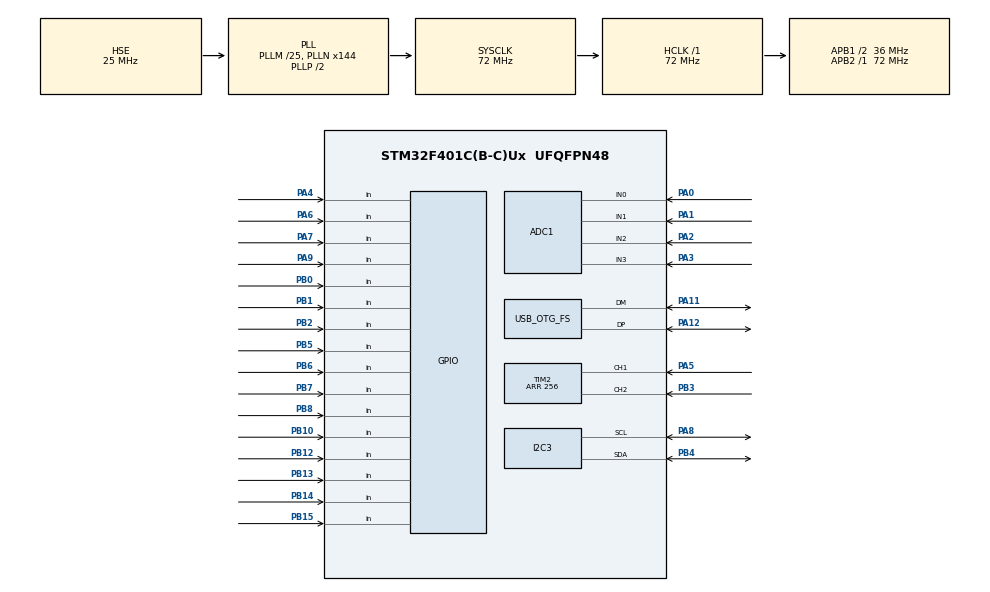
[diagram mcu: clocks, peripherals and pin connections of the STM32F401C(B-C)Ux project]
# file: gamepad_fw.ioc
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ADC1.Channel-0\#ChannelRegularConversion=ADC_CHANNEL_0
ADC1.Channel-1\#ChannelRegularConversion=ADC_CHANNEL_1
ADC1.Channel-2\#ChannelRegularConversion=ADC_CHANNEL_2
ADC1.Channel-3\#ChannelRegularConversion=ADC_CHANNEL_3
ADC1.ContinuousConvMode=ENABLE
ADC1.NbrOfConversion=4
ADC1.NbrOfConversionFlag=1
ADC1.Rank-0\#ChannelRegularConversion=1
ADC1.Rank-1\#ChannelRegularConversion=2
ADC1.Rank-2\#ChannelRegularConversion=3
ADC1.Rank-3\#ChannelRegularConversion=4
ADC1.SamplingTime-0\#ChannelRegularConversion=ADC_SAMPLETIME_3CYCLES
ADC1.SamplingTime-1\#ChannelRegularConversion=ADC_SAMPLETIME_3CYCLES
ADC1.SamplingTime-2\#ChannelRegularConversion=ADC_SAMPLETIME_3CYCLES
ADC1.SamplingTime-3\#ChannelRegularConversion=ADC_SAMPLETIME_3CYCLES
ADC1.ScanConvMode=ENABLE
ADC1.master=1
I2C3.I2C_Mode=I2C_Fast
Mcu.Family=STM32F4
Mcu.Name=STM32F401C(B-C)Ux
Mcu.Package=UFQFPN48
NVIC.OTG_FS_IRQn=true\:0\:0\:false\:false\:true\:false\:true\:true
NVIC.PriorityGroup=NVIC_PRIORITYGROUP_4
PA0-WKUP.Signal=ADCx_IN0
PA1.Signal=ADCx_IN1
PA11.Mode=Device_Only
PA11.Signal=USB_OTG_FS_DM
PA12.Mode=Device_Only
PA12.Signal=USB_OTG_FS_DP
PA2.Signal=ADCx_IN2
PA3.Signal=ADCx_IN3
PA4.GPIO_PuPd=GPIO_PULLUP
PA4.Signal=GPIO_Input
PA5.Signal=S_TIM2_CH1_ETR
PA6.GPIO_PuPd=GPIO_PULLUP
PA6.Signal=GPIO_Input
PA7.GPIO_PuPd=GPIO_PULLUP
PA7.Signal=GPIO_Input
PA8.Mode=I2C
PA8.Signal=I2C3_SCL
PA9.GPIO_PuPd=GPIO_PULLUP
PA9.Signal=GPIO_Input
PB0.GPIO_PuPd=GPIO_PULLUP
PB0.Signal=GPIO_Input
PB1.GPIO_PuPd=GPIO_PULLUP
PB1.Signal=GPIO_Input
PB10.GPIO_PuPd=GPIO_PULLUP
PB10.Signal=GPIO_Input
PB12.GPIO_PuPd=GPIO_PULLUP
PB12.Signal=GPIO_Input
PB13.GPIO_PuPd=GPIO_PULLUP
PB13.Signal=GPIO_Input
PB14.GPIO_PuPd=GPIO_PULLUP
PB14.Signal=GPIO_Input
PB15.GPIO_PuPd=GPIO_PULLUP
PB15.Signal=GPIO_Input
PB2.GPIO_PuPd=GPIO_PULLUP
PB2.Signal=GPIO_Input
PB3.Signal=S_TIM2_CH2
PB4.Mode=I2C
PB4.Signal=I2C3_SDA
PB5.GPIO_PuPd=GPIO_PULLUP
PB5.Signal=GPIO_Input
PB6.GPIO_PuPd=GPIO_PULLUP
PB6.Signal=GPIO_Input
PB7.GPIO_PuPd=GPIO_PULLUP
PB7.Signal=GPIO_Input
PB8.GPIO_PuPd=GPIO_PULLUP
PB8.Signal=GPIO_Input
PH0\ -\ OSC_IN.Mode=HSE-External-Oscillator
PH0\ -\ OSC_IN.Signal=RCC_OSC_IN
PH1\ -\ OSC_OUT.Mode=HSE-External-Oscillator
PH1\ -\ OSC_OUT.Signal=RCC_OSC_OUT
ProjectManager.HeapSize=0x200
ProjectManager.StackSize=0x400
ProjectManager.TargetToolchain=STM32CubeIDE
RCC.48MHZClocksFreq_Value=48000000
RCC.AHBFreq_Value=72000000
RCC.APB1CLKDivider=RCC_HCLK_DIV2
RCC.APB1Freq_Value=36000000
RCC.APB1TimFreq_Value=72000000
RCC.APB2Freq_Value=72000000
RCC.APB2TimFreq_Value=72000000
RCC.CortexFreq_Value=72000000
RCC.HCLKFreq_Value=72000000
RCC.HSE_VALUE=25000000
RCC.HSI_VALUE=16000000
RCC.LSE_VALUE=32768
RCC.PLLM=25
RCC.PLLN=144
RCC.PLLQ=3
RCC.SYSCLKFreq_VALUE=72000000
RCC.SYSCLKSource=RCC_SYSCLKSOURCE_PLLCLK
RCC.VCOOutputFreq_Value=144000000
SH.ADCx_IN0.0=ADC1_IN0,IN0
SH.ADCx_IN1.0=ADC1_IN1,IN1
SH.ADCx_IN2.0=ADC1_IN2,IN2
SH.ADCx_IN3.0=ADC1_IN3,IN3
SH.S_TIM2_CH1_ETR.0=TIM2_CH1,Encoder_Interface
SH.S_TIM2_CH2.0=TIM2_CH2,Encoder_Interface
TIM2.EncoderMode=TIM_ENCODERMODE_TI12
TIM2.Period=256
USB_DEVICE.CLASS_NAME_FS=CUSTOM_HID
USB_DEVICE.PRODUCT_STRING_CUSTOMHID_FS=STM32 GAMEPAD
USB_DEVICE.VirtualMode=CustomHid
USB_DEVICE.VirtualModeFS=Custom_Hid_FS
USB_OTG_FS.VirtualMode=Device_Only
VP_USB_DEVICE_VS_USB_DEVICE_CUSTOM_HID_FS.Mode=CUSTOM_HID_FS
board=custom

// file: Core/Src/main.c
/* USER CODE BEGIN Header */
/**
  ******************************************************************************
  * @file           : main.c
  * @brief          : Main program body
  ******************************************************************************
  * @attention
  *
  * Copyright (c) 2023 STMicroelectronics.
  * All rights reserved.
  *
  * This software is licensed under terms that can be found in the LICENSE file
  * in the root directory of this software component.
  * If no LICENSE file comes with this software, it is provided AS-IS.
  *
  ******************************************************************************
  */
/* USER CODE END Header */
#include "main.h"
#include "usb_device.h"
#include <stdio.h>
#include <stdlib.h>

/* USER CODE BEGIN Includes */
#include "ssd1306.h"
#include "ssd1306_conf.h"
#include "ssd1306_fonts.h"
#include "ssd1306_tests.h"
/* USER CODE END Includes */

/* USER CODE BEGIN PTD */
typedef struct
__attribute__((__packed__))
{
  uint8_t reportId;                                 // Report ID = 0x01 (1)
  uint8_t modifier;
  uint8_t reverse;
  uint8_t keycode[6];                              // Value = 0 to 255
} keyboardReport_t;

typedef struct
__attribute__((__packed__))
{
  uint8_t reportId;                                 // Report ID = 0x02 (2)
  uint8_t leftClick:1;
  uint8_t rightClick:1;
  uint8_t midClick:1;
  uint8_t pad:5;
  int8_t pointerX;                         // Usage 0x00010030: X, Value = -127 to 127
  int8_t pointerY;                         // Usage 0x00010031: Y, Value = -127 to 127
  int8_t wheel;      	                   // Usage 0x00010038: Wheel, Value = -127 to 127
} mouseReport_t;

typedef struct
__attribute__((__packed__))
{
	uint8_t reportId; //                 //Report ID 0x03 (3)
	uint16_t buttons;
	int8_t leftX;
	int8_t leftY;
	int8_t rightX;
	int8_t rightY;
}gamepadReport_t;

GPIO_TypeDef* port[16] = {GPIOB, GPIOA, GPIOA, GPIOB, GPIOB, GPIOB, GPIOB, GPIOB, GPIOA, GPIOB, GPIOA, GPIOB, GPIOB, GPIOB, GPIOB, GPIOB};
uint16_t pin[16] = {GPIO_PIN_0, GPIO_PIN_7, GPIO_PIN_6, GPIO_PIN_1, GPIO_PIN_12, GPIO_PIN_10, GPIO_PIN_13, GPIO_PIN_2, GPIO_PIN_9, GPIO_PIN_15, GPIO_PIN_4, GPIO_PIN_14, GPIO_PIN_5, GPIO_PIN_7, GPIO_PIN_8, GPIO_PIN_6};
uint8_t keycode[16] = {0x04, 0x05, 0x06, 0x07, 0x08, 0x09, 0x0A, 0x0B, 0x0C, 0x0D, 0x0E, 0x0F, 0x10, 0x11, 0x12, 0x13};

/* USER CODE END PTD */

/* USER CODE BEGIN PD */
#define NUM 15
/* USER CODE END PD */

ADC_HandleTypeDef hadc1;

I2C_HandleTypeDef hi2c3;

TIM_HandleTypeDef htim2;

/* USER CODE BEGIN PV */
keyboardReport_t keyboardReport;
mouseReport_t mouseReport;
gamepadReport_t gamepadReport;

uint8_t lcdBuffer1[100];
uint8_t lcdBuffer2[100];
uint8_t lcdBuffer3[100];

uint16_t adcValue0, adcValue1, adcValue2, adcValue3;

volatile uint8_t encoderValue;
/* USER CODE END PV */

void SystemClock_Config(void);
static void MX_GPIO_Init(void);
static void MX_ADC1_Init(void);
static void MX_I2C3_Init(void);
static void MX_TIM2_Init(void);
/* USER CODE BEGIN PFP */
extern USBD_HandleTypeDef hUsbDeviceFS;
void USBD_CUSTOM_HID_SendReport();
/* USER CODE END PFP */

/* USER CODE BEGIN 0 */

int getValue(int channel)
{
	int value = 0;
	ADC_ChannelConfTypeDef sConfig = {0};
	sConfig.Channel = channel;
	sConfig.Rank = 1;
	sConfig.SamplingTime = ADC_SAMPLETIME_3CYCLES;
	if (HAL_ADC_ConfigChannel(&hadc1, &sConfig) != HAL_OK)
	{
		Error_Handler();
	}
	HAL_ADC_Start(&hadc1);
	HAL_Delay(1);
	HAL_ADC_PollForConversion(&hadc1, 10);
	value = HAL_ADC_GetValue(&hadc1);
	HAL_ADC_Stop(&hadc1);
	return value;
}

void keyboardProcess(void)
{
	for(int i = 0; i < NUM; i++)
	{
	    if(HAL_GPIO_ReadPin(port[i], pin[i]) == GPIO_PIN_RESET)
	    {
		  keyboardReport.keycode[i] = keycode[i];
	    }
	    else
		  keyboardReport.keycode[i] = 0;
	}
	USBD_CUSTOM_HID_SendReport(&hUsbDeviceFS, &keyboardReport, sizeof(keyboardReport));
}

void mouseProcess(void)
{
	mouseReport.pointerX = (float)(adcValue3 - 2047)/4095*230;
	mouseReport.pointerY = (float)(2047 - adcValue2)/4095*230;
	if(HAL_GPIO_ReadPin(GPIOB, GPIO_PIN_0) == GPIO_PIN_RESET)
		mouseReport.leftClick = 1;
	else
		mouseReport.leftClick = 0;
	if(HAL_GPIO_ReadPin(GPIOA, GPIO_PIN_6) == GPIO_PIN_RESET)
		mouseReport.rightClick = 1;
	else
		mouseReport.rightClick = 0;
	if(HAL_GPIO_ReadPin(GPIOB, GPIO_PIN_1) == GPIO_PIN_RESET)
		mouseReport.midClick = 1;
	else
		mouseReport.midClick = 0;
	mouseReport.wheel = encoderValue - 127;
	USBD_CUSTOM_HID_SendReport(&hUsbDeviceFS, &mouseReport, sizeof(mouseReport));
	//HAL_Delay(8);
}
void gamepadProcess(void)
{
	  gamepadReport.leftX = (float)(adcValue3 - 2047)/4095*230;
	  gamepadReport.leftY = (float)(2047 - adcValue2)/4095*230;
	  gamepadReport.rightX = (float)(adcValue1 - 2047)/4095*230;
	  gamepadReport.rightY = (float)(2047 - adcValue0)/4095*230;
	  gamepadReport.buttons = 0;
	  for(int i = 0; i < NUM; i++)
	  {
		  if(HAL_GPIO_ReadPin(port[i], pin[i]) == GPIO_PIN_RESET)
			  gamepadReport.buttons |= (1 << i);
	  }
	  USBD_CUSTOM_HID_SendReport(&hUsbDeviceFS, &gamepadReport, sizeof(gamepadReport));
	  //HAL_Delay(8);
}
/* USER CODE END 0 */

int main(void)
{

  /* MCU Configuration--------------------------------------------------------*/

  /* Reset of all peripherals, Initializes the Flash interface and the Systick. */
  HAL_Init();

  /* Configure the system clock */
  SystemClock_Config();

  /* Initialize all configured peripherals */
  MX_GPIO_Init();
  MX_ADC1_Init();
  MX_I2C3_Init();
  MX_TIM2_Init();
  MX_USB_DEVICE_Init();
  ssd1306_Init();

  mouseReport.reportId = 0x03;
  keyboardReport.reportId = 0x02;
  gamepadReport.reportId = 0x01;
  keyboardReport.modifier = 0;
  keyboardReport.reverse = 0;
  mouseReport.pad = 0;
  ssd1306_Fill(Black);
  ssd1306_SetCursor(1, 15);
  ssd1306_WriteString("Test 2", Font_6x8, White);
  ssd1306_UpdateScreen();
  HAL_Delay(3000);
  /* USER CODE BEGIN 2 */
  HAL_TIM_Encoder_Start(&htim2, TIM_CHANNEL_1 | TIM_CHANNEL_2);
  /* USER CODE END 2 */

  /* Infinite loop */
  /* USER CODE BEGIN WHILE */

  short modeState = 0;
  while (1)
  {
    /* USER CODE END WHILE */
	  adcValue0 = getValue(ADC_CHANNEL_0);
	  adcValue1 = getValue(ADC_CHANNEL_1);
	  adcValue2 = getValue(ADC_CHANNEL_2);
	  adcValue3 = getValue(ADC_CHANNEL_3);
	  encoderValue = __HAL_TIM_GET_COUNTER(&htim2);

	  sprintf((char*)lcdBuffer2, "%d   %d", adcValue0, adcValue1);
	  sprintf((char*)lcdBuffer3, "%d ", encoderValue);

	  if(HAL_GPIO_ReadPin(GPIOB, GPIO_PIN_0) == 0 && HAL_GPIO_ReadPin(GPIOA, GPIO_PIN_6) == 0 && HAL_GPIO_ReadPin(GPIOB, GPIO_PIN_1) == 0)
	  {
		  while(HAL_GPIO_ReadPin(GPIOB, GPIO_PIN_1) == 0);
		  modeState++;
		  if(modeState > 2)
			  modeState = 0;
	  }

	  switch(modeState)
	  {
	  	  case 0: //keyboard mode
	  	  {
	  		  sprintf((char*)lcdBuffer1, "Gamepad mode ON");
	  		  gamepadProcess();
	  		  break;
	  	  }
	  	  case 1:  //mouse mode
	  	  {
	  		  sprintf((char*)lcdBuffer1, "Mouse mode ON");
	  		  mouseProcess();
	  		  break;
	  	  }
	  	  case 2:  //gamepad
	  	  {
	  		  sprintf((char*)lcdBuffer1, "Keyboard mode ON");
	  		  keyboardProcess();
	  		  break;
	  	  }
	  }
	  ssd1306_Fill(Black);
	  ssd1306_SetCursor(1, 10);
	  ssd1306_WriteString((char*)lcdBuffer1, Font_6x8, White);
	  ssd1306_SetCursor(1, 30);
	  ssd1306_WriteString((char*)lcdBuffer2, Font_6x8, White);
	  ssd1306_SetCursor(1, 50);
	  ssd1306_WriteString((char*)lcdBuffer3, Font_6x8, White);
	  ssd1306_UpdateScreen();
  }
}
void SystemClock_Config(void)
{
  RCC_OscInitTypeDef RCC_OscInitStruct = {0};
  RCC_ClkInitTypeDef RCC_ClkInitStruct = {0};

  /** Configure the main internal regulator output voltage
  */
  __HAL_RCC_PWR_CLK_ENABLE();
  __HAL_PWR_VOLTAGESCALING_CONFIG(PWR_REGULATOR_VOLTAGE_SCALE2);

  /** Initializes the RCC Oscillators according to the specified parameters
  * in the RCC_OscInitTypeDef structure.
  */
  RCC_OscInitStruct.OscillatorType = RCC_OSCILLATORTYPE_HSE;
  RCC_OscInitStruct.HSEState = RCC_HSE_ON;
  RCC_OscInitStruct.PLL.PLLState = RCC_PLL_ON;
  RCC_OscInitStruct.PLL.PLLSource = RCC_PLLSOURCE_HSE;
  RCC_OscInitStruct.PLL.PLLM = 25;
  RCC_OscInitStruct.PLL.PLLN = 144;
  RCC_OscInitStruct.PLL.PLLP = RCC_PLLP_DIV2;
  RCC_OscInitStruct.PLL.PLLQ = 3;
  if (HAL_RCC_OscConfig(&RCC_OscInitStruct) != HAL_OK)
  {
    Error_Handler();
  }

  /** Initializes the CPU, AHB and APB buses clocks
  */
  RCC_ClkInitStruct.ClockType = RCC_CLOCKTYPE_HCLK|RCC_CLOCKTYPE_SYSCLK
                              |RCC_CLOCKTYPE_PCLK1|RCC_CLOCKTYPE_PCLK2;
  RCC_ClkInitStruct.SYSCLKSource = RCC_SYSCLKSOURCE_PLLCLK;
  RCC_ClkInitStruct.AHBCLKDivider = RCC_SYSCLK_DIV1;
  RCC_ClkInitStruct.APB1CLKDivider = RCC_HCLK_DIV2;
  RCC_ClkInitStruct.APB2CLKDivider = RCC_HCLK_DIV1;

  if (HAL_RCC_ClockConfig(&RCC_ClkInitStruct, FLASH_LATENCY_2) != HAL_OK)
  {
    Error_Handler();
  }
}

static void MX_ADC1_Init(void)
{

  ADC_ChannelConfTypeDef sConfig = {0};

  /** Configure the global features of the ADC (Clock, Resolution, Data Alignment and number of conversion)
  */
  hadc1.Instance = ADC1;
  hadc1.Init.ClockPrescaler = ADC_CLOCK_SYNC_PCLK_DIV2;
  hadc1.Init.Resolution = ADC_RESOLUTION_12B;
  hadc1.Init.ScanConvMode = ENABLE;
  hadc1.Init.ContinuousConvMode = ENABLE;
  hadc1.Init.DiscontinuousConvMode = DISABLE;
  hadc1.Init.ExternalTrigConvEdge = ADC_EXTERNALTRIGCONVEDGE_NONE;
  hadc1.Init.ExternalTrigConv = ADC_SOFTWARE_START;
  hadc1.Init.DataAlign = ADC_DATAALIGN_RIGHT;
  hadc1.Init.NbrOfConversion = 4;
  hadc1.Init.DMAContinuousRequests = DISABLE;
  hadc1.Init.EOCSelection = ADC_EOC_SINGLE_CONV;
  if (HAL_ADC_Init(&hadc1) != HAL_OK)
  {
    Error_Handler();
  }

  /** Configure for the selected ADC regular channel its corresponding rank in the sequencer and its sample time.
  */
  sConfig.Channel = ADC_CHANNEL_0;
  sConfig.Rank = 1;
  sConfig.SamplingTime = ADC_SAMPLETIME_3CYCLES;
  if (HAL_ADC_ConfigChannel(&hadc1, &sConfig) != HAL_OK)
  {
    Error_Handler();
  }

  /** Configure for the selected ADC regular channel its corresponding rank in the sequencer and its sample time.
  */
  sConfig.Channel = ADC_CHANNEL_1;
  sConfig.Rank = 2;
  if (HAL_ADC_ConfigChannel(&hadc1, &sConfig) != HAL_OK)
  {
    Error_Handler();
  }

  /** Configure for the selected ADC regular channel its corresponding rank in the sequencer and its sample time.
  */
  sConfig.Channel = ADC_CHANNEL_2;
  sConfig.Rank = 3;
  if (HAL_ADC_ConfigChannel(&hadc1, &sConfig) != HAL_OK)
  {
    Error_Handler();
  }

  /** Configure for the selected ADC regular channel its corresponding rank in the sequencer and its sample time.
  */
  sConfig.Channel = ADC_CHANNEL_3;
  sConfig.Rank = 4;
  if (HAL_ADC_ConfigChannel(&hadc1, &sConfig) != HAL_OK)
  {
    Error_Handler();
  }

}

static void MX_I2C3_Init(void)
{

  hi2c3.Instance = I2C3;
  hi2c3.Init.ClockSpeed = 400000;
  hi2c3.Init.DutyCycle = I2C_DUTYCYCLE_2;
  hi2c3.Init.OwnAddress1 = 0;
  hi2c3.Init.AddressingMode = I2C_ADDRESSINGMODE_7BIT;
  hi2c3.Init.DualAddressMode = I2C_DUALADDRESS_DISABLE;
  hi2c3.Init.OwnAddress2 = 0;
  hi2c3.Init.GeneralCallMode = I2C_GENERALCALL_DISABLE;
  hi2c3.Init.NoStretchMode = I2C_NOSTRETCH_DISABLE;
  if (HAL_I2C_Init(&hi2c3) != HAL_OK)
  {
    Error_Handler();
  }

}

static void MX_TIM2_Init(void)
{

  TIM_Encoder_InitTypeDef sConfig = {0};
  TIM_MasterConfigTypeDef sMasterConfig = {0};

  htim2.Instance = TIM2;
  htim2.Init.Prescaler = 0;
  htim2.Init.CounterMode = TIM_COUNTERMODE_UP;
  htim2.Init.Period = 256;
  htim2.Init.ClockDivision = TIM_CLOCKDIVISION_DIV1;
  htim2.Init.AutoReloadPreload = TIM_AUTORELOAD_PRELOAD_DISABLE;
  sConfig.EncoderMode = TIM_ENCODERMODE_TI12;
  sConfig.IC1Polarity = TIM_ICPOLARITY_RISING;
  sConfig.IC1Selection = TIM_ICSELECTION_DIRECTTI;
  sConfig.IC1Prescaler = TIM_ICPSC_DIV1;
  sConfig.IC1Filter = 0;
  sConfig.IC2Polarity = TIM_ICPOLARITY_RISING;
  sConfig.IC2Selection = TIM_ICSELECTION_DIRECTTI;
  sConfig.IC2Prescaler = TIM_ICPSC_DIV1;
  sConfig.IC2Filter = 0;
  if (HAL_TIM_Encoder_Init(&htim2, &sConfig) != HAL_OK)
  {
    Error_Handler();
  }
  sMasterConfig.MasterOutputTrigger = TIM_TRGO_RESET;
  sMasterConfig.MasterSlaveMode = TIM_MASTERSLAVEMODE_DISABLE;
  if (HAL_TIMEx_MasterConfigSynchronization(&htim2, &sMasterConfig) != HAL_OK)
  {
    Error_Handler();
  }

}

static void MX_GPIO_Init(void)
{
  GPIO_InitTypeDef GPIO_InitStruct = {0};

  /* GPIO Ports Clock Enable */
  __HAL_RCC_GPIOH_CLK_ENABLE();
  __HAL_RCC_GPIOA_CLK_ENABLE();
  __HAL_RCC_GPIOB_CLK_ENABLE();

  /*Configure GPIO pins : PA4 PA6 PA7 PA9 */
  GPIO_InitStruct.Pin = GPIO_PIN_4|GPIO_PIN_6|GPIO_PIN_7|GPIO_PIN_9;
  GPIO_InitStruct.Mode = GPIO_MODE_INPUT;
  GPIO_InitStruct.Pull = GPIO_PULLUP;
  HAL_GPIO_Init(GPIOA, &GPIO_InitStruct);

  /*Configure GPIO pins : PB0 PB1 PB2 PB10
                           PB12 PB13 PB14 PB15
                           PB5 PB6 PB7 PB8 */
  GPIO_InitStruct.Pin = GPIO_PIN_0|GPIO_PIN_1|GPIO_PIN_2|GPIO_PIN_10
                          |GPIO_PIN_12|GPIO_PIN_13|GPIO_PIN_14|GPIO_PIN_15
                          |GPIO_PIN_5|GPIO_PIN_6|GPIO_PIN_7|GPIO_PIN_8;
  GPIO_InitStruct.Mode = GPIO_MODE_INPUT;
  GPIO_InitStruct.Pull = GPIO_PULLUP;
  HAL_GPIO_Init(GPIOB, &GPIO_InitStruct);

}

void Error_Handler(void)
{
  __disable_irq();
  while (1)
  {
  }
}
